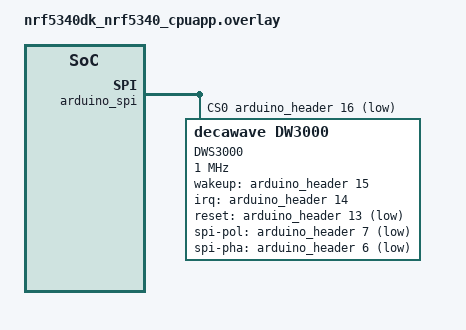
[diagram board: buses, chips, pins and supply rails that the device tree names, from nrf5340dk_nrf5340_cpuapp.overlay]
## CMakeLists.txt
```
# SPDX-License-Identifier: Apache-2.0

cmake_minimum_required(VERSION 3.20.0)

list(APPEND ZEPHYR_EXTRA_MODULES ${CMAKE_CURRENT_SOURCE_DIR}/../Driver/)
set(SHIELD qorvo_dws3000)

find_package(Zephyr REQUIRED HINTS $ENV{ZEPHYR_BASE})
project(TwoWayRanging)

target_sources(app PRIVATE src/main.c src/DSTWR.c)
```

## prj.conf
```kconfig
CONFIG_DW3000=y
CONFIG_SPI=y
CONFIG_GPIO=y
CONFIG_LOG=y
CONFIG_NEWLIB_LIBC=y
CONFIG_NEWLIB_LIBC_FLOAT_PRINTF=y
```

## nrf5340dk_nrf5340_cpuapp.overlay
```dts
&arduino_spi {
    status = "okay";
    cs-gpios = <&arduino_header 16 GPIO_ACTIVE_LOW>; /* D10 */

    dws3000@0 {
        compatible = "decawave,dw3000";
        label = "DWS3000";
        spi-max-frequency = <1000000>;
        reg = <0>;
        wakeup-gpios  = <&arduino_header 15 GPIO_ACTIVE_HIGH>; /* D9 */
        irq-gpios     = <&arduino_header 14 GPIO_ACTIVE_HIGH>; /* D8 */
        reset-gpios   = <&arduino_header 13 GPIO_ACTIVE_LOW>; /* D7 */
        spi-pol-gpios = <&arduino_header  7 GPIO_ACTIVE_LOW>; /* D1 */
        spi-pha-gpios = <&arduino_header  6 GPIO_ACTIVE_LOW>; /* D0 */
    };
};

/*
 *   By default config Zephyr will P1.01 and P1.02 for UART1.
 *   Disable UART1 so that DWM3000 can use them for SPI3 Polarity and Phase pins.
 */
 arduino_serial: &uart1 {
	status = "disabled";
};
```

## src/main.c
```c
#include <logging/log.h>
#include <deca_probe_interface.h>

#include "DSTWR.h"

LOG_MODULE_REGISTER(main);

#define RANGING_INTERVAL 1000

//#define INITIATOR

void printResult(struct DSTWRResult result) {
	double firstLoopDuration = (double)(result.rx2 - result.tx1);
	double firstProcessingDuration = (double)(result.tx2 - result.rx1);
	double secondLoopDuration = (double)(result.rx3 - result.tx2);
	double secondProcessingDuration = (double)(result.tx3 - result.rx2);

	double timeOfFlight = (firstLoopDuration * secondLoopDuration - firstProcessingDuration * secondProcessingDuration) /
				(firstLoopDuration + secondLoopDuration + firstProcessingDuration + secondProcessingDuration) * DWT_TIME_UNITS;

	double distance = timeOfFlight * SPEED_OF_LIGHT;

	printf("2Distance = %3.2f m\n", distance);

	responder();
}

void repeatRanging() {
	k_msleep(RANGING_INTERVAL);
	initiator();
}

void main(void) {
#ifdef INITIATOR
	setInitiatorDone(repeatRanging);
#else
	setResultProcessor(printResult);
#endif

	if (initializeUWB()) {
#ifdef INITIATOR
		initiatorStart();
#else
		responderStart();
#endif
	} else {
		LOG_ERR("Initialization failed");
	}
}
```

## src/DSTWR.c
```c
#include <dw3000_hw.h>
#include <dw3000_spi.h>
#include <deca_probe_interface.h>
#include <logging/log.h>

#include "UWBFrame.h"
#include "DSTWR.h"

#define INITIATOR_ADDRESS 0x4556
#define RESPONDER_ADDRESS 0x4157

#define DUMMY_ANTENNA_DELAY 16385

#define UUS_TO_DWT_TIME 63898

#define RX_DELAY 700
#define TX_DELAY 3400
#define RX_TIME_OUT 0
#define PREAMBLE_TIME_OUT 65000

LOG_MODULE_REGISTER(DSTWR);

static dwt_config_t config = {
	5,                /* Channel number. */
	DWT_PLEN_128,     /* Preamble length. Used in TX only. */
	DWT_PAC8,         /* Preamble acquisition chunk size. Used in RX only. */
	9,                /* TX preamble code. Used in TX only. */
	9,                /* RX preamble code. Used in RX only. */
	1,                /* 0 to use standard 8 symbol SFD, 1 to use non-standard 8 symbol, 2 for non-standard 16 symbol SFD and 3 for 4z 8 symbol SDF type */
	DWT_BR_6M8,       /* Data rate. */
	DWT_PHRMODE_STD,  /* PHY header mode. */
	DWT_PHRRATE_STD,  /* PHY header rate. */
	(129 + 8 - 8),    /* SFD timeout (preamble length + 1 + SFD length - PAC size). Used in RX only. */
	DWT_STS_MODE_OFF, /* STS disabled */
	DWT_STS_LEN_64,   /* STS length see allowed values in Enum dwt_sts_lengths_e */
	DWT_PDOA_M0       /* PDOA mode off */
};

static dwt_txconfig_t txconfig_options = {
	0x34,
	0xfdfdfdfd,
	0x0
};

void (*initiatorDone)();
void setInitiatorDone(void (*function)()) {
	initiatorDone = function;
}

void (*resultProcessor)(struct DSTWRResult);
void setResultProcessor(void (*function)(struct DSTWRResult)) {
	resultProcessor = function;
}

uint8_t sequenceNumber;

struct UWBFrame firstTxFrame = {
	.frameControl = 0x8841,
	.panId = 0xDECA,
	.destinationAddress = RESPONDER_ADDRESS,
	.sourceAddress = INITIATOR_ADDRESS,
	.functionCode = 0x21
};

bool initializeUWB() {
	if (dw3000_hw_init() != 0) {
		LOG_ERR("Initialization of UWB chip HW failed");
		return false;
	}

	dw3000_spi_speed_fast();
	dw3000_hw_reset();

	if (dwt_probe((struct dwt_probe_s*)&dw3000_probe_interf) != DWT_SUCCESS) {
		LOG_ERR("Probe failed");
		return false;
	}

	k_msleep(2);

	while (!dwt_checkidlerc()) {};

	if (dwt_initialise(DWT_DW_INIT) != DWT_SUCCESS) {
		LOG_ERR("Initialization failed");
		return false;
	}

	if (dwt_configure(&config) != DWT_SUCCESS) {
		LOG_ERR("Configuration failed");
		return false;
	}

	dwt_configuretxrf(&txconfig_options);

	if (dw3000_hw_init_interrupt() != 0) {
		LOG_ERR("Interrupt initialization failed");
		return false;
	}
	
	dw3000_hw_interrupt_enable();

	dwt_setrxantennadelay(DUMMY_ANTENNA_DELAY);
	dwt_settxantennadelay(DUMMY_ANTENNA_DELAY);

	dwt_setrxaftertxdelay(RX_DELAY);
	dwt_setrxtimeout(RX_TIME_OUT);
	dwt_setpreambledetecttimeout(PREAMBLE_TIME_OUT);

	return true;
}

void initiator();

void initiatorTX(const dwt_cb_data_t *cb_data) {
	if (initiatorDone != NULL) {
		initiatorDone();
	}
}

void initiatorRX(const dwt_cb_data_t *cb_data) {
	uint64_t tx1TimeStamp;
	uint64_t rxTimeStamp;
	uint64_t tx2TimeStamp;

	struct UWBDelayDataFrame secondTxFrame = { .baseFrame = firstTxFrame };
	secondTxFrame.baseFrame.functionCode = 0x23;

	struct UWBResponseFrame rxFrame;

	uint32_t tx2Time;

	if (dwt_getframelength() >= sizeof(rxFrame)) {
		dwt_readrxdata(&rxFrame, sizeof(rxFrame), 0);

		if (
			rxFrame.baseFrame.frameControl == 0x8841 &&
			rxFrame.baseFrame.panId == 0xDECA &&
			rxFrame.baseFrame.destinationAddress == INITIATOR_ADDRESS &&
			rxFrame.baseFrame.sourceAddress == RESPONDER_ADDRESS &&
			rxFrame.baseFrame.functionCode == 0x10 &&
			rxFrame.activityCode == 0x02
		) {
			tx1TimeStamp = 0;
			tx1TimeStamp |= dwt_readtxtimestamphi32();
			tx1TimeStamp <<= 8;
			tx1TimeStamp |= dwt_readtxtimestamplo32();

			rxTimeStamp = 0;
			rxTimeStamp |= dwt_readrxtimestamphi32();
			rxTimeStamp <<= 8;
			rxTimeStamp |= dwt_readrxtimestamplo32();

			tx2Time = (rxTimeStamp + (TX_DELAY * UUS_TO_DWT_TIME)) >> 8;

			dwt_setdelayedtrxtime(tx2Time);

			tx2TimeStamp = (((uint64_t)(tx2Time & 0xFFFFFFFEUL)) << 8) + DUMMY_ANTENNA_DELAY;

			secondTxFrame.tx1TimeStamp = (uint32_t)tx1TimeStamp;
			secondTxFrame.rxTimeStamp = (uint32_t)rxTimeStamp;
			secondTxFrame.tx2TimeStamp = (uint32_t)tx2TimeStamp;

			secondTxFrame.baseFrame.sequenceNumber = sequenceNumber++;

			dwt_writetxdata(sizeof(secondTxFrame), &secondTxFrame, 0);
			dwt_writetxfctrl(sizeof(secondTxFrame) + FCS_LEN, 0, 1);

			dwt_setinterrupt(DWT_INT_TXFRS_BIT_MASK, 0, DWT_ENABLE_INT_ONLY);

			if (dwt_starttx(DWT_START_TX_DELAYED) == DWT_SUCCESS) {
				return;
			}
		}
	}

	initiator();
}

void initiatorRXFault(const dwt_cb_data_t *cb_data) {
	initiator();
}

void initiatorStart() {
	dwt_setcallbacks(initiatorTX, initiatorRX, initiatorRXFault, initiatorRXFault, NULL, NULL, NULL);
	
	dwt_writesysstatuslo(DWT_INT_RXFCG_BIT_MASK | DWT_INT_TXFRS_BIT_MASK);

	initiator();
}

void initiator() {
	dwt_setinterrupt(DWT_INT_RXFCG_BIT_MASK | SYS_STATUS_ALL_RX_TO | SYS_STATUS_ALL_RX_ERR, 0, DWT_ENABLE_INT_ONLY);

	do {
		firstTxFrame.sequenceNumber = sequenceNumber++;

		dwt_writetxdata(sizeof(firstTxFrame), &firstTxFrame, 0);
		dwt_writetxfctrl(sizeof(firstTxFrame) + FCS_LEN, 0, 1);
	} while(dwt_starttx(DWT_START_TX_IMMEDIATE | DWT_RESPONSE_EXPECTED) == DWT_ERROR);
}

void responderRX(const dwt_cb_data_t *cb_data);
void responderRXFault(const dwt_cb_data_t *cb_data);

void responder() {
	dwt_setcallbacks(NULL, responderRX, responderRXFault, responderRXFault, NULL, NULL, NULL);
	dwt_rxenable(DWT_START_RX_IMMEDIATE);
}

uint64_t firstRxTimeStamp;

void responderSecondRX(const dwt_cb_data_t *cb_data) {
	struct UWBDelayDataFrame secondRxFrame;
	uint64_t txTimeStamp;
	uint64_t secondRxTimeStamp;

	sequenceNumber++;

	if (dwt_getframelength() >= sizeof(secondRxFrame)) {
		dwt_readrxdata(&secondRxFrame, sizeof(secondRxFrame), 0);
		if (
			secondRxFrame.baseFrame.frameControl == 0x8841 &&
			secondRxFrame.baseFrame.panId == 0xDECA &&
			secondRxFrame.baseFrame.destinationAddress == RESPONDER_ADDRESS &&
			secondRxFrame.baseFrame.sourceAddress == INITIATOR_ADDRESS &&
			secondRxFrame.baseFrame.functionCode == 0x23
		) {
			txTimeStamp = 0;
			txTimeStamp |= dwt_readtxtimestamphi32();
			txTimeStamp <<= 8;
			txTimeStamp |= dwt_readtxtimestamplo32();

			secondRxTimeStamp = 0;
			secondRxTimeStamp |= dwt_readrxtimestamphi32();
			secondRxTimeStamp <<= 8;
			secondRxTimeStamp |= dwt_readrxtimestamplo32();

			if (resultProcessor != NULL) {
				resultProcessor((struct DSTWRResult){secondRxFrame.tx1TimeStamp, firstRxTimeStamp, txTimeStamp, secondRxFrame.rxTimeStamp, secondRxFrame.tx2TimeStamp, secondRxTimeStamp});
			}

			return;
		}
	}

	responder();
}

void responderRX(const dwt_cb_data_t *cb_data) {
	struct UWBFrame firstRxFrame;
	uint64_t txTime;

	struct UWBResponseFrame txFrame = {
		.baseFrame = {
			.frameControl = 0x8841,
			.panId = 0xDECA,
			.destinationAddress = INITIATOR_ADDRESS,
			.sourceAddress = RESPONDER_ADDRESS,
			.functionCode = 0x10
		},
		.activityCode = 0x02
	};

	if (dwt_getframelength() >= sizeof(firstRxFrame)) {
		dwt_readrxdata(&firstRxFrame, sizeof(firstRxFrame), 0);
		if (
			firstRxFrame.frameControl == 0x8841 &&
			firstRxFrame.panId == 0xDECA &&
			firstRxFrame.destinationAddress == RESPONDER_ADDRESS &&
			firstRxFrame.sourceAddress == INITIATOR_ADDRESS &&
			firstRxFrame.functionCode == 0x21
		) {
			firstRxTimeStamp = 0;
			firstRxTimeStamp |= dwt_readrxtimestamphi32();
			firstRxTimeStamp <<= 8;
			firstRxTimeStamp |= dwt_readrxtimestamplo32();

			txTime = (firstRxTimeStamp + (TX_DELAY * UUS_TO_DWT_TIME)) >> 8;

			dwt_setdelayedtrxtime(txTime);

			txFrame.baseFrame.sequenceNumber = sequenceNumber;

			dwt_writetxdata(sizeof(txFrame), &txFrame, 0);
			dwt_writetxfctrl(sizeof(txFrame) + FCS_LEN, 0, 1);

			dwt_setcallbacks(NULL, responderSecondRX, responderRXFault, responderRXFault, NULL, NULL, NULL);

			if (dwt_starttx(DWT_START_TX_DELAYED | DWT_RESPONSE_EXPECTED) != DWT_ERROR) {
				return;
			}
		}
	}

	responder();
}

void responderRXFault(const dwt_cb_data_t *cb_data) {
	responder();
}

void responderStart() {
	dwt_writesysstatuslo(DWT_INT_RXFCG_BIT_MASK | DWT_INT_TXFRS_BIT_MASK);
	dwt_setinterrupt(DWT_INT_RXFCG_BIT_MASK | SYS_STATUS_ALL_RX_TO | SYS_STATUS_ALL_RX_ERR, 0, DWT_ENABLE_INT_ONLY);
	responder();
}
```

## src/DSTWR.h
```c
#ifndef MJ_DSTWR
#define MJ_DSTWR

#include <stdio.h>
#include <zephyr.h>

#define SPEED_OF_LIGHT 299702547

struct DSTWRResult {
	uint64_t tx1;
	uint64_t rx1;
	uint64_t tx2;
	uint64_t rx2;
	uint64_t tx3;
	uint64_t rx3;
} __attribute__((packed));

bool initializeUWB();
void responderStart();
void responder();
void initiatorStart();
void setResultProcessor(void (*function)(struct DSTWRResult));
void setInitiatorDone(void (*function)());

#endif
```

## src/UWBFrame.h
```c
#ifndef UWB_FRAME
#define UWB_FRAME

#include <stdint.h>

struct UWBFrame {
    uint16_t frameControl;
    uint8_t  sequenceNumber;
    uint16_t panId;
    uint16_t destinationAddress;
    uint16_t sourceAddress;
    uint8_t  functionCode;
} __attribute__((packed));

struct UWBResponseFrame {
    struct UWBFrame baseFrame;
    uint8_t         activityCode;
} __attribute__((packed));

struct UWBDelayDataFrame {
    struct UWBFrame baseFrame;
    uint32_t        tx1TimeStamp;
    uint32_t        rxTimeStamp;
    uint32_t        tx2TimeStamp;
} __attribute__((packed));

#endif
```
